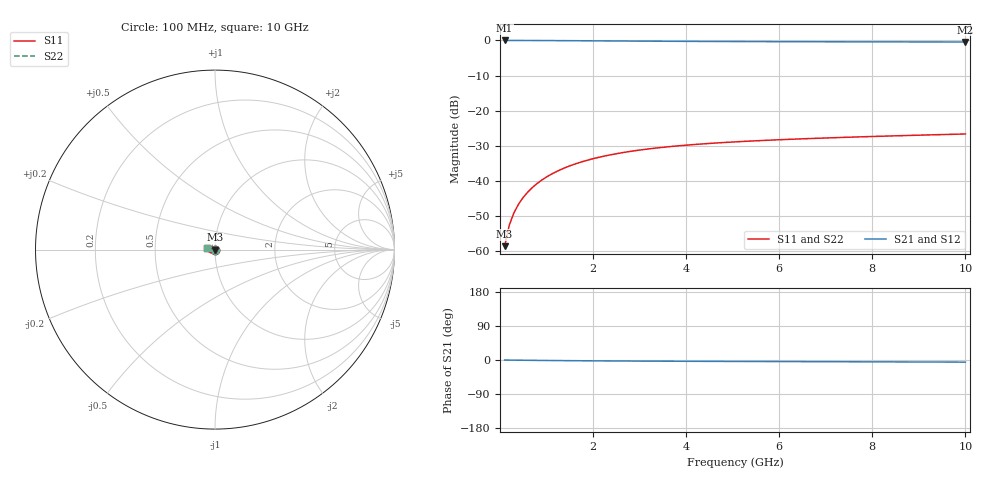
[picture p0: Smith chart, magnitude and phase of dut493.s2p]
! Touchstone file exported from HFSS 2024.1.0
!  File:  C:/UserFiles/LocalFiles/RDL_TSV_Batchsim/temp_TSV1_493_1779700727.aedt
!  Generated:  05:25:46 PM May 25, 2026
!  Design:  TSV1
!  Project:  temp_TSV1_493_1779700727
!  Setup:  Setup1
!  Solution:  Sweep
! Variables:
!  dtsv = 9.4um
!  hbump = 3um
!  htsv = 86.54um
!  lrdl = 252.1521522um
!  p = 40
!  p1 = 53.95um
!  t = 500um
!  trdl = 3um
!  wrdl = 24.89489489um
# GHz S MA R 50.000000
! Terminal data exported
! Port[1] = TSV22_T1
! Port[2] = TSV22_T2
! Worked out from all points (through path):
!   100 points, 100 MHz to 10 GHz, reference 50 ohm
!   highest |S21| = 0.00 dB at 100 MHz (marker M1); lowest = -0.4 dB at 10 GHz (marker M2)
!   lowest |S11| = -58.5 dB at 100 MHz (marker M3), VSWR 1.00, Z = 50 - j0.118 ohm
!   |S11| at or under -10 dB: start of sweep to end of sweep
!   |S22| runs from -58.5 to -26.6 dB; largest |S21 - S12| = 5.7e-15
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0.1  0.001189 -83.7  0.9998 -0.1  0.9998 -0.1  0.001189 -83.7
! Gamma 0 0 0 0
! Port Impedance 50 0 50 0
0.2  0.002361 -89.6  0.9996 -0.3  0.9996 -0.3  0.002361 -89.6
0.3  0.003536 -92.9  0.9994 -0.4  0.9994 -0.4  0.003536 -92.9
0.4  0.004708 -95.5  0.9991 -0.5  0.9991 -0.5  0.004708 -95.5
0.5  0.00587 -97.9  0.9988 -0.6  0.9988 -0.6  0.00587 -97.9
0.6  0.00702 -100.1  0.9983 -0.8  0.9983 -0.8  0.00702 -100.1
0.7  0.008155 -102.2  0.9978 -0.9  0.9978 -0.9  0.008155 -102.2
0.8  0.009272 -104.3  0.9972 -1.0  0.9972 -1.0  0.009272 -104.3
0.9  0.01037 -106.3  0.9966 -1.1  0.9966 -1.1  0.01037 -106.3
1.1  0.0125 -110.2  0.9952 -1.4  0.9952 -1.4  0.0125 -110.2
1.4  0.01552 -115.7  0.9928 -1.7  0.9928 -1.7  0.01552 -115.7
1.6  0.01739 -119.2  0.9911 -1.9  0.9911 -1.9  0.01739 -119.2
1.8  0.01916 -122.6  0.9892 -2.0  0.9892 -2.0  0.01916 -122.6
2.1  0.02162 -127.4  0.9864 -2.3  0.9864 -2.3  0.02162 -127.4
2.5  0.02452 -133.4  0.9827 -2.6  0.9827 -2.6  0.02452 -133.4
2.9  0.02705 -138.9  0.9792 -2.8  0.9792 -2.8  0.02705 -138.9
3.4  0.02975 -145.1  0.9751 -3.1  0.9751 -3.1  0.02975 -145.1
4.2  0.03323 -153.8  0.9696 -3.5  0.9696 -3.5  0.03323 -153.8
5.1  0.03628 -162.2  0.9646 -3.8  0.9646 -3.8  0.03629 -162.2
6.7  0.0404 -174.4  0.9584 -4.4  0.9584 -4.4  0.0404 -174.4
8.4  0.04387 175.2  0.9541 -5.0  0.9541 -5.0  0.04387 175.2
10  0.0468 167.1  0.9513 -5.6  0.9513 -5.6  0.0468 167.1
